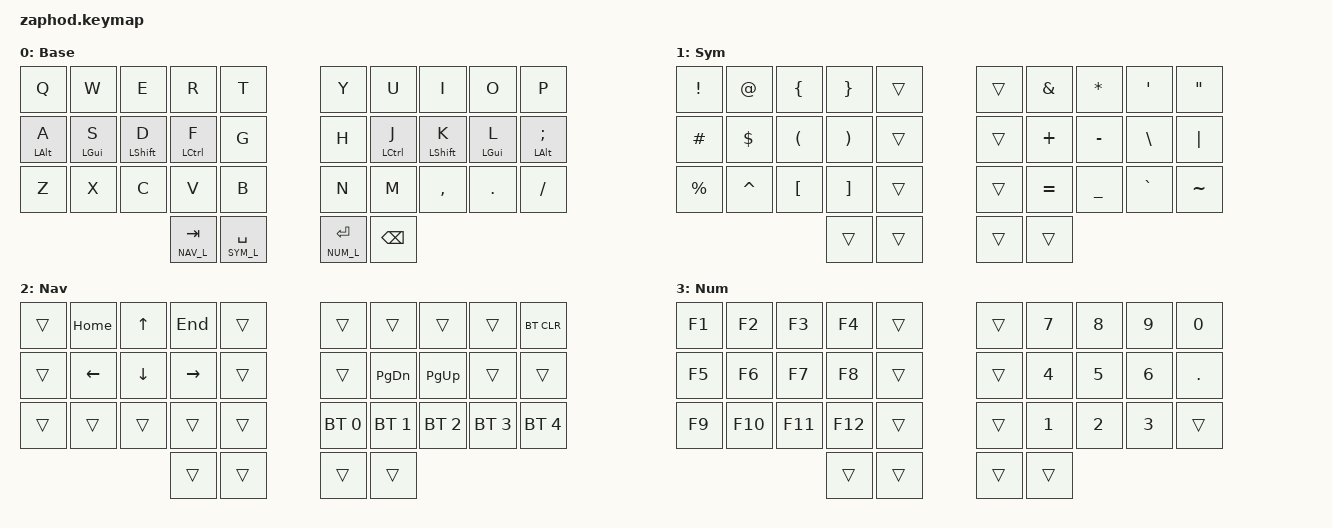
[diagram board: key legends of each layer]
/*
 * Copyright (c) 2021 Pete Johanson
 *
 * SPDX-License-Identifier: MIT
 */

#include <behaviors.dtsi>
#include <dt-bindings/zmk/keys.h>
#include <dt-bindings/zmk/bt.h>
#include <dt-bindings/zmk/outputs.h>

#define SYM_L 1
#define NAV_L 2
#define NUM_L 3

// Using layer taps on thumbs, having quick tap as well helps w/ repeating space/backspace
&lt { quick_tap_ms = <150>; };

/ {

    combos {
        compatible = "zmk,combos";

        qw_esc {
	    timeout-ms = <50>;
            key-positions = <0 1>;
            bindings = <&kp ESC>;
        };


    };

    behaviors {
        hm: homerow_mods {
            compatible = "zmk,behavior-hold-tap";
            label = "homerow mods";
            #binding-cells = <2>;
            tapping_term_ms = <150>;
            flavor = "tap-preferred";
            bindings = <&kp>, <&kp>;
        };
    };

    keymap {
        compatible = "zmk,keymap";

        default_layer {
            label = "Base";
            bindings = <
                &kp Q      &kp W      &kp E       &kp R          &kp T           &kp Y            &kp U          &kp I       &kp O      &kp P
                &hm LALT A &hm LGUI S &hm LSHFT D &hm LCTRL F    &kp G           &kp H            &hm LCTRL J    &hm LSHFT K &hm LGUI L &hm LALT SEMI
                &kp Z      &kp X      &kp C       &kp V          &kp B           &kp N            &kp M          &kp COMMA   &kp DOT    &kp FSLH
                                                  &lt NAV_L TAB  &lt SYM_L SPACE &lt NUM_L RET    &kp BKSP
            >;
        };

        symbol_layer {
            label = "Sym";
            bindings = <
                &kp EXCL   &kp AT     &kp LBRC    &kp RBRC         &trans       &trans           &kp AMPS       &kp STAR    &kp SQT     &kp DQT
                &kp HASH   &kp DLLR   &kp LPAR    &kp RPAR         &trans       &trans           &kp PLUS       &kp MINUS   &kp BSLH    &kp PIPE
                &kp PRCNT  &kp CARET  &kp LBKT    &kp RBKT         &trans       &trans           &kp EQUAL      &kp UNDER   &kp GRAVE   &kp TILDE
                                                  &trans           &trans       &trans           &trans
            >;
        };

        nav_layer {
            label = "Nav";
            bindings = <
                &trans	   &kp HOME   &kp UP      &kp END         &trans       &trans           &trans         &trans       &trans       &bt BT_CLR
                &trans     &kp LEFT   &kp DOWN    &kp RIGHT       &trans       &trans           &kp PG_DN      &kp PG_UP    &trans       &trans
                &trans     &trans     &trans      &trans          &trans       &bt BT_SEL 0     &bt BT_SEL 1   &bt BT_SEL 2 &bt BT_SEL 3 &bt BT_SEL 4
                                                  &trans          &trans       &trans           &trans
            >;
        };

        num_layer {
            label = "Num";
            bindings = <
                &kp F1   &kp F2     &kp F3      &kp F4          &trans      &trans          &kp N7         &kp N8      &kp N9     &kp N0
                &kp F5   &kp F6     &kp F7      &kp F8          &trans      &trans          &kp N4         &kp N5      &kp N6     &kp DOT
                &kp F9  &kp F10     &kp F11     &kp F12         &trans      &trans          &kp N1         &kp N2      &kp N3     &trans
                                                &trans          &trans      &trans          &trans
            >;
        };
    };
};

